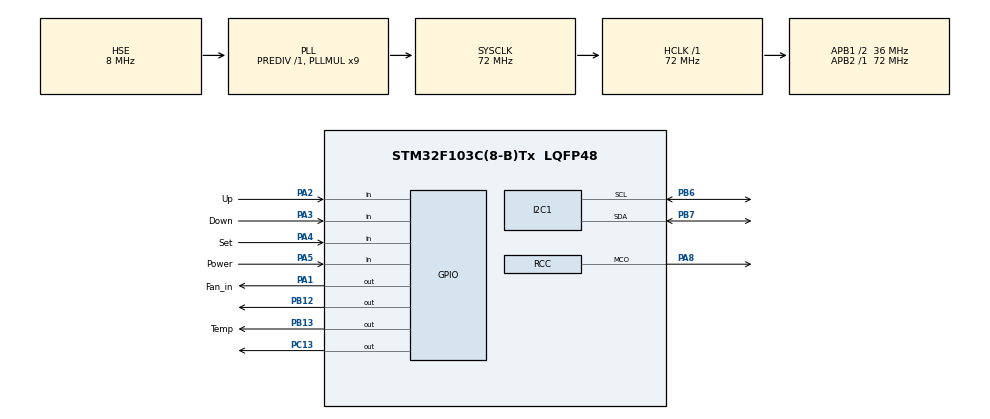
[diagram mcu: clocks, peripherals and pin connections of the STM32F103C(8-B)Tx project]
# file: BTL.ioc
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Mcu.Family=STM32F1
Mcu.Name=STM32F103C(8-B)Tx
Mcu.Package=LQFP48
NVIC.PriorityGroup=NVIC_PRIORITYGROUP_4
PA1.GPIO_Label=Fan_in
PA1.Signal=GPIO_Output
PA13.Mode=Serial_Wire
PA13.Signal=SYS_JTMS-SWDIO
PA14.Mode=Serial_Wire
PA14.Signal=SYS_JTCK-SWCLK
PA2.GPIO_Label=Up
PA2.GPIO_PuPd=GPIO_PULLDOWN
PA2.Signal=GPIO_Input
PA3.GPIO_Label=Down
PA3.GPIO_PuPd=GPIO_PULLDOWN
PA3.Signal=GPIO_Input
PA4.GPIO_Label=Set
PA4.GPIO_PuPd=GPIO_PULLDOWN
PA4.Signal=GPIO_Input
PA5.GPIO_Label=Power
PA5.GPIO_Mode=GPIO_MODE_INPUT
PA5.GPIO_PuPd=GPIO_PULLDOWN
PA5.Signal=GPIO_Input
PA8.Mode=Clock-out
PA8.Signal=RCC_MCO
PB12.GPIO_PuPd=GPIO_PULLUP
PB12.PinState=GPIO_PIN_SET
PB12.Signal=GPIO_Output
PB13.GPIO_Label=Temp
PB13.Signal=GPIO_Output
PB6.Mode=I2C
PB6.Signal=I2C1_SCL
PB7.Mode=I2C
PB7.Signal=I2C1_SDA
PC13-TAMPER-RTC.GPIO_PuPd=GPIO_PULLDOWN
PC13-TAMPER-RTC.Signal=GPIO_Output
PD0-OSC_IN.Mode=HSE-External-Oscillator
PD0-OSC_IN.Signal=RCC_OSC_IN
PD1-OSC_OUT.Mode=HSE-External-Oscillator
PD1-OSC_OUT.Signal=RCC_OSC_OUT
ProjectManager.HeapSize=0x200
ProjectManager.StackSize=0x400
ProjectManager.TargetToolchain=STM32CubeIDE
RCC.AHBFreq_Value=72000000
RCC.APB1CLKDivider=RCC_HCLK_DIV2
RCC.APB1Freq_Value=36000000
RCC.APB1TimFreq_Value=72000000
RCC.APB2Freq_Value=72000000
RCC.APB2TimFreq_Value=72000000
RCC.HCLKFreq_Value=72000000
RCC.PLLMUL=RCC_PLL_MUL9
RCC.PLLSourceVirtual=RCC_PLLSOURCE_HSE
RCC.RCC_MCOSource=RCC_MCO1SOURCE_HSE
RCC.SYSCLKFreq_VALUE=72000000
RCC.SYSCLKSource=RCC_SYSCLKSOURCE_PLLCLK
RCC.USBFreq_Value=72000000
board=custom

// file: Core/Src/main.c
/* USER CODE BEGIN Header */
/**
  ******************************************************************************
  * @file           : main.c
  * @brief          : Main program body
  ******************************************************************************
  * @attention
  *
  * Copyright (c) 2025 STMicroelectronics.
  * All rights reserved.
  *
  * This software is licensed under terms that can be found in the LICENSE file
  * in the root directory of this software component.
  * If no LICENSE file comes with this software, it is provided AS-IS.
  *
  ******************************************************************************
  */
/* USER CODE END Header */
#include "main.h"

/* USER CODE BEGIN Includes */
#include "liquidcrystal_i2c.h"
#include "stm32f1xx_hal.h"
#include "DS18B20.h"
#include "app_tasks.h"
#include "global_def.h"
#include "eeprom.h"
#include <stdio.h>
#include <string.h>
/* USER CODE END Includes */

I2C_HandleTypeDef hi2c1;

/* USER CODE BEGIN PV */
/* Global thermostat state - shared by all tasks */
ThermostatState_t thermostat_state = {
    .currentTemp = 0.0f,
    .setTemp = 28,          /* Default setpoint: 28°C */
    .isFanOn = 0,
    .mode = 1,              /* Start in NORMAL mode */
    .button_up = 0,
    .button_down = 0,
    .button_set = 0,
    .button_power = 0
};

char lcd_buffer[20];     /* Buffer for LCD display */
float temp_val = 0.0;    /* Variable to store temperature */
/* USER CODE END PV */

void SystemClock_Config(void);
static void MX_GPIO_Init(void);
static void MX_I2C1_Init(void);

int main(void)
{

  /* MCU Configuration--------------------------------------------------------*/

  /* Reset of all peripherals, Initializes the Flash interface and the Systick. */
  HAL_Init();

  /* Configure the system clock */
  SystemClock_Config();

  /* Initialize all configured peripherals */
  MX_GPIO_Init();
  MX_I2C1_Init();
  /* USER CODE BEGIN 2 */

  /* ========== Initialize Hardware ========== */

  /* Wait for LCD module to power up */
  HAL_Delay(100);

  /* Initialize LCD (2 lines) */
  lcdInit();
  lcdBacklight();
  lcdClear();

  /* Display startup message */
  lcdSetCursor(0, 0);
  lcdWriteString("BTL Thermostat");
  lcdSetCursor(1, 0);
  lcdWriteString("Initializing...");
  /* Initialize DS18B20 timer */
  DS18B20_Init_MicroTimer();

  /* ========== Initialize EEPROM and Load Setpoint ========== */
  EEPROM_Init();  /* Initialize EEPROM module */

  /* Try to load saved setpoint from EEPROM */
  int8_t saved_settemp = 28;  /* Default value */
  if (EEPROM_LoadSetpoint(&saved_settemp) == HAL_OK)
  {
    /* Successfully loaded from EEPROM */
    thermostat_state.setTemp = saved_settemp;
  }
  else
  {
    /* EEPROM empty or corrupted, use default and save it */
    thermostat_state.setTemp = 28;
    EEPROM_SaveSetpoint(28);
  }

  HAL_Delay(1000);

  /* ========== Initialize Task Scheduler ========== */
  Task_Scheduler_Init();
  lcdClear();
  /* USER CODE END 2 */

  /* Infinite loop */
  while (1)
  {

    /* USER CODE BEGIN 3 */

    /* Run task scheduler - all tasks execute based on their timing */
    Task_Scheduler_Run();

  }
  /* USER CODE END 3 */
}

void SystemClock_Config(void)
{
  RCC_OscInitTypeDef RCC_OscInitStruct = {0};
  RCC_ClkInitTypeDef RCC_ClkInitStruct = {0};

  /** Initializes the RCC Oscillators according to the specified parameters
  * in the RCC_OscInitTypeDef structure.
  */
  RCC_OscInitStruct.OscillatorType = RCC_OSCILLATORTYPE_HSE;
  RCC_OscInitStruct.HSEState = RCC_HSE_ON;
  RCC_OscInitStruct.HSEPredivValue = RCC_HSE_PREDIV_DIV1;
  RCC_OscInitStruct.HSIState = RCC_HSI_ON;
  RCC_OscInitStruct.PLL.PLLState = RCC_PLL_ON;
  RCC_OscInitStruct.PLL.PLLSource = RCC_PLLSOURCE_HSE;
  RCC_OscInitStruct.PLL.PLLMUL = RCC_PLL_MUL9;
  if (HAL_RCC_OscConfig(&RCC_OscInitStruct) != HAL_OK)
  {
    Error_Handler();
  }

  /** Initializes the CPU, AHB and APB buses clocks
  */
  RCC_ClkInitStruct.ClockType = RCC_CLOCKTYPE_HCLK|RCC_CLOCKTYPE_SYSCLK
                              |RCC_CLOCKTYPE_PCLK1|RCC_CLOCKTYPE_PCLK2;
  RCC_ClkInitStruct.SYSCLKSource = RCC_SYSCLKSOURCE_PLLCLK;
  RCC_ClkInitStruct.AHBCLKDivider = RCC_SYSCLK_DIV1;
  RCC_ClkInitStruct.APB1CLKDivider = RCC_HCLK_DIV2;
  RCC_ClkInitStruct.APB2CLKDivider = RCC_HCLK_DIV1;

  if (HAL_RCC_ClockConfig(&RCC_ClkInitStruct, FLASH_LATENCY_2) != HAL_OK)
  {
    Error_Handler();
  }
  HAL_RCC_MCOConfig(RCC_MCO, RCC_MCO1SOURCE_HSE, RCC_MCODIV_1);
}

static void MX_I2C1_Init(void)
{

  hi2c1.Instance = I2C1;
  hi2c1.Init.ClockSpeed = 100000;
  hi2c1.Init.DutyCycle = I2C_DUTYCYCLE_2;
  hi2c1.Init.OwnAddress1 = 0;
  hi2c1.Init.AddressingMode = I2C_ADDRESSINGMODE_7BIT;
  hi2c1.Init.DualAddressMode = I2C_DUALADDRESS_DISABLE;
  hi2c1.Init.OwnAddress2 = 0;
  hi2c1.Init.GeneralCallMode = I2C_GENERALCALL_DISABLE;
  hi2c1.Init.NoStretchMode = I2C_NOSTRETCH_DISABLE;
  if (HAL_I2C_Init(&hi2c1) != HAL_OK)
  {
    Error_Handler();
  }

}

static void MX_GPIO_Init(void)
{
  GPIO_InitTypeDef GPIO_InitStruct = {0};

  /* GPIO Ports Clock Enable */
  __HAL_RCC_GPIOC_CLK_ENABLE();
  __HAL_RCC_GPIOD_CLK_ENABLE();
  __HAL_RCC_GPIOA_CLK_ENABLE();
  __HAL_RCC_GPIOB_CLK_ENABLE();

  /*Configure GPIO pin Output Level */
  HAL_GPIO_WritePin(GPIOC, GPIO_PIN_13, GPIO_PIN_RESET);

  /*Configure GPIO pin Output Level */
  HAL_GPIO_WritePin(Fan_in_GPIO_Port, Fan_in_Pin, GPIO_PIN_RESET);

  /*Configure GPIO pin Output Level */
  HAL_GPIO_WritePin(GPIOB, GPIO_PIN_12, GPIO_PIN_SET);

  /*Configure GPIO pin Output Level */
  HAL_GPIO_WritePin(Temp_GPIO_Port, Temp_Pin, GPIO_PIN_RESET);

  /*Configure GPIO pin : PC13 */
  GPIO_InitStruct.Pin = GPIO_PIN_13;
  GPIO_InitStruct.Mode = GPIO_MODE_OUTPUT_PP;
  GPIO_InitStruct.Pull = GPIO_PULLDOWN;
  GPIO_InitStruct.Speed = GPIO_SPEED_FREQ_LOW;
  HAL_GPIO_Init(GPIOC, &GPIO_InitStruct);

  /*Configure GPIO pin : Fan_in_Pin */
  GPIO_InitStruct.Pin = Fan_in_Pin;
  GPIO_InitStruct.Mode = GPIO_MODE_OUTPUT_PP;
  GPIO_InitStruct.Pull = GPIO_NOPULL;
  GPIO_InitStruct.Speed = GPIO_SPEED_FREQ_LOW;
  HAL_GPIO_Init(Fan_in_GPIO_Port, &GPIO_InitStruct);

  /*Configure GPIO pins : Up_Pin Down_Pin Set_Pin Power_Pin */
  GPIO_InitStruct.Pin = Up_Pin|Down_Pin|Set_Pin|Power_Pin;
  GPIO_InitStruct.Mode = GPIO_MODE_INPUT;
  GPIO_InitStruct.Pull = GPIO_PULLDOWN;
  HAL_GPIO_Init(GPIOA, &GPIO_InitStruct);

  /*Configure GPIO pin : PB12 */
  GPIO_InitStruct.Pin = GPIO_PIN_12;
  GPIO_InitStruct.Mode = GPIO_MODE_OUTPUT_PP;
  GPIO_InitStruct.Pull = GPIO_PULLUP;
  GPIO_InitStruct.Speed = GPIO_SPEED_FREQ_LOW;
  HAL_GPIO_Init(GPIOB, &GPIO_InitStruct);

  /*Configure GPIO pin : Temp_Pin */
  GPIO_InitStruct.Pin = Temp_Pin;
  GPIO_InitStruct.Mode = GPIO_MODE_OUTPUT_PP;
  GPIO_InitStruct.Pull = GPIO_NOPULL;
  GPIO_InitStruct.Speed = GPIO_SPEED_FREQ_LOW;
  HAL_GPIO_Init(Temp_GPIO_Port, &GPIO_InitStruct);

  /*Configure GPIO pin : PA8 */
  GPIO_InitStruct.Pin = GPIO_PIN_8;
  GPIO_InitStruct.Mode = GPIO_MODE_AF_PP;
  GPIO_InitStruct.Speed = GPIO_SPEED_FREQ_LOW;
  HAL_GPIO_Init(GPIOA, &GPIO_InitStruct);

}

void Error_Handler(void)
{
  __disable_irq();
  while (1)
  {
  }
}
